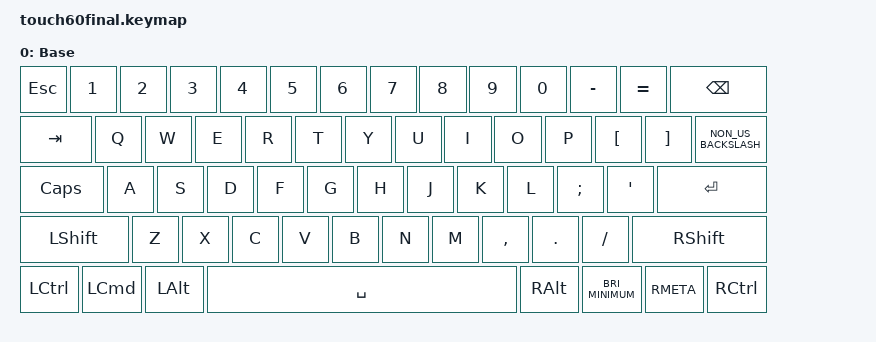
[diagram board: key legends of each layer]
#include <behaviors.dtsi>
#include <dt-bindings/zmk/keys.h>

/ {
    keymap {
        compatible = "zmk,keymap";

        default_layer {
            display-name = "Base";
            bindings = <
&kp ESCAPE      &kp NUMBER_1  &kp NUMBER_2  &kp NUMBER_3  &kp NUMBER_4  &kp N5  &kp NUMBER_6  &kp N7  &kp N8  &kp N9     &kp N0         &kp MINUS                 &kp EQUAL          &kp BACKSPACE
&kp TAB         &kp Q         &kp W         &kp E         &kp R         &kp T   &kp Y         &kp U   &kp I   &kp O      &kp P          &kp LEFT_BRACKET          &kp RIGHT_BRACKET  &kp NON_US_BACKSLASH
&kp CAPSLOCK    &kp A         &kp S         &kp D         &kp F         &kp G   &kp H         &kp J   &kp K   &kp L      &kp SEMICOLON  &kp SQT                   &kp ENTER
&kp LEFT_SHIFT                &kp Z         &kp X         &kp C         &kp V   &kp B         &kp N   &kp M   &kp COMMA  &kp PERIOD     &kp SLASH                 &kp RIGHT_SHIFT
&kp LCTRL       &kp LCMD      &kp LEFT_ALT                                      &kp SPACE                                &kp RIGHT_ALT  &kp C_BRIGHTNESS_MINIMUM  &kp RMETA          &kp RCTRL
            >;
        };
    };
};
